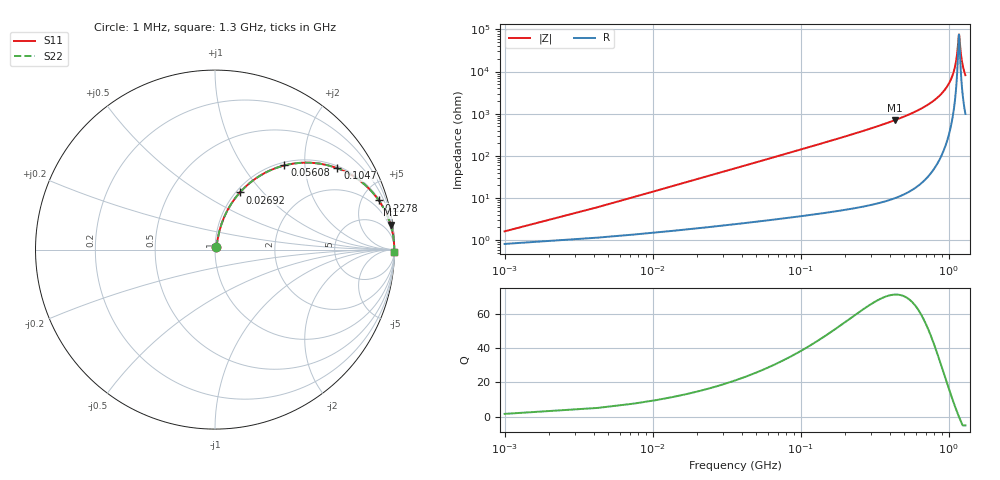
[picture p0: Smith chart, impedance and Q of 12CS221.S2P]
! Coilcraft 1206CS-221 Chip Inductor
! 29 July 2002
# MHZ S MA R 50
!Freq  MagS11  AngS11  MagS21  AngS21  MagS12  AngS12  MagS22  AngS22
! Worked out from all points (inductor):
!   402 points, 1 MHz to 1.3 GHz, reference 50 ohm
!   read as one part in series: L = 223 nH near 7.48 MHz
!   highest Q = 71 at 435.2 MHz (marker M1), where L = 258 nH
!   self-resonance near 1.174 GHz
!   S11 on the Smith chart (normalised r, x): 1 MHz: 1.02, +0.03; 26.92 MHz: 1.04, +0.75; 56.08 MHz: 1.06, +1.58; 104.7 MHz: 1.08, +2.96; 227.8 MHz: 1.11, +6.63; 1.3 GHz: open
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1  0.01608 59.0  0.9918 -0.8  0.9918 -0.8  0.01608 59.0
10.72  0.1471 75.8  0.9743 -8.4  0.9743 -8.4  0.1471 75.8
13.96  0.1896 74.2  0.9658 -10.9  0.9658 -10.9  0.1896 74.2
26.92  0.3471 66.5  0.9184 -20.3  0.9184 -20.3  0.3471 66.5
56.08  0.6083 50.5  0.7719 -37.4  0.7719 -37.4  0.6083 50.5
104.68  0.8188 33.6  0.5536 -54.9  0.5536 -54.9  0.8188 33.6
153.28  0.9022 24.4  0.4129 -64.4  0.4129 -64.4  0.9022 24.4
218.08  0.9488 17.4  0.2998 -71.6  0.2998 -71.6  0.9488 17.4
227.8  0.9529 16.7  0.2873 -72.3  0.2873 -72.3  0.9529 16.7
435.16  0.9882 8.0  0.1399 -81.2  0.1399 -81.2  0.9882 8.0
652.24  0.9959 4.3  0.07551 -84.7  0.07551 -84.7  0.9959 4.3
869.32  0.9982 2.1  0.03726 -86.1  0.03726 -86.1  0.9982 2.1
998.92  0.9986 1.1  0.01999 -85.5  0.01999 -85.5  0.9986 1.1
1086.4  0.9987 0.6  0.009793 -82.2  0.009793 -82.2  0.9987 0.6
1131.76  0.9987 0.3  0.00492 -74.8  0.00492 -74.8  0.9987 0.3
1170.64  0.9987 0.0  0.001466 -26.8  0.001466 -26.8  0.9987 0.0
1177.12  0.9987 -0.0  0.001315 0.2  0.001315 0.2  0.9987 -0.0
1183.6  0.9987 -0.0  0.001482 26.8  0.001482 26.8  0.9987 -0.0
1209.52  0.9986 -0.2  0.003559 67.5  0.003559 67.5  0.9986 -0.2
1228.96  0.9986 -0.3  0.005402 75.0  0.005402 75.0  0.9986 -0.3
1261.36  0.9986 -0.5  0.008497 80.0  0.008497 80.0  0.9986 -0.5
1300  0.9985 -0.7  0.01213 82.4  0.01213 82.4  0.9985 -0.7
